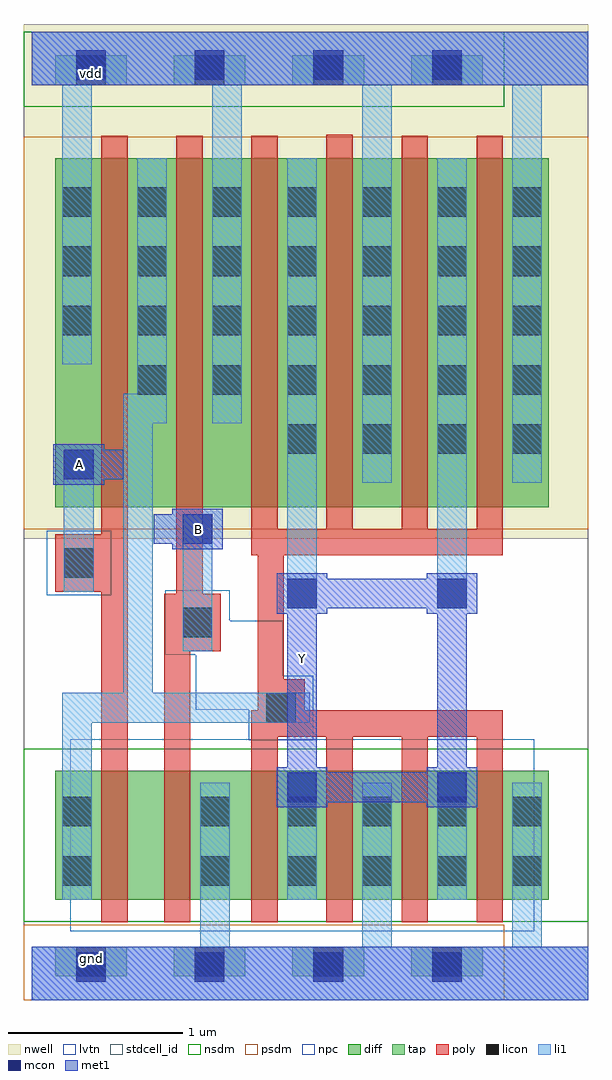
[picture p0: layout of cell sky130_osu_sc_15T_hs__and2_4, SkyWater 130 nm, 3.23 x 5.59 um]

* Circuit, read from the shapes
.subckt sky130_osu_sc_15T_hs__and2_4 A B Y gnd vdd
XM1 n1 A n2 gnd sky130_fd_pr__nfet_01v8_lvt w=0.74 l=0.15
XM2 gnd B n1 gnd sky130_fd_pr__nfet_01v8_lvt w=0.74 l=0.15
XM3 Y n2 gnd gnd sky130_fd_pr__nfet_01v8_lvt w=0.74 l=0.15 m=4
XM4 n2 A vdd vdd sky130_fd_pr__pfet_01v8 w=2 l=0.15
XM5 vdd B n2 vdd sky130_fd_pr__pfet_01v8 w=2 l=0.15
XM6 Y n2 vdd vdd sky130_fd_pr__pfet_01v8 w=2 l=0.15 m=4
.ends

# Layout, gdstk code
import gdstk
lib = gdstk.Library(unit=1e-6, precision=1e-09)
def R(c, l, rs):  # rectangles x0, y0, x1, y1
    for r in rs: c.add(gdstk.rectangle(r[:2], r[2:], *l))
def A(c, l, x, y, w, h, nx, ny, dx, dy):  # array of equal rectangles
    R(c, l, [(x+i*dx, y+j*dy, x+i*dx+w, y+j*dy+h) for i in range(nx) for j in range(ny)])
nwell = (64, 20)
diff = (65, 20)
tap = (65, 44)
poly = (66, 20)
licon = (66, 44)
li1 = (67, 20)
mcon = (67, 44)
met1 = (68, 20)
stdcell_id = (81, 4)
nsdm = (93, 44)
psdm = (94, 20)
npc = (95, 20)
lvtn = (125, 44)

sky130_osu_sc_15t_hs__an = lib.new_cell('sky130_osu_sc_15T_hs__and2_4')
R(sky130_osu_sc_15t_hs__an, nwell, [(-0.045,2.645,3.19,5.595)])
R(sky130_osu_sc_15t_hs__an, diff, [(0.135,0.575,2.965,1.315), (0.135,2.825,2.965,4.825)])
A(sky130_osu_sc_15t_hs__an, tap, 0.135, 0.135, 0.41, 0.17, 4, 2, 0.68, 5.11)
A(sky130_osu_sc_15t_hs__an, poly, 1.26, 0.445, 0.15, 1.065, 4, 1, 0.43, 0)
R(sky130_osu_sc_15t_hs__an, poly, [(0.4,0.445,0.55,2.34), (0.76,0.445,0.91,2), (1.26,1.51,2.7,1.66), (1.295,1.66,1.565,1.84), (1.295,1.84,1.445,2.55), (0.76,2,1.085,2.33), (0.83,2.33,0.98,4.955), (0.135,2.34,0.55,2.67), (1.26,2.55,2.7,2.7), (0.4,2.67,0.55,4.955), (1.26,2.7,1.41,4.955), (1.69,2.7,1.84,4.96), (2.12,2.7,2.27,4.955), (2.55,2.7,2.7,4.955)])
A(sky130_osu_sc_15t_hs__an, licon, 0.255, 0.135, 0.17, 0.17, 4, 2, 0.68, 5.11)
A(sky130_osu_sc_15t_hs__an, licon, 1.465, 0.655, 0.17, 0.17, 4, 2, 0.43, 0.34)
A(sky130_osu_sc_15t_hs__an, licon, 1.465, 3.13, 0.17, 0.17, 4, 1, 0.43, 0)
A(sky130_osu_sc_15t_hs__an, licon, 0.605, 3.47, 0.17, 0.17, 6, 1, 0.43, 0)
A(sky130_osu_sc_15t_hs__an, licon, 0.175, 3.81, 0.17, 0.17, 7, 3, 0.43, 0.34)
R(sky130_osu_sc_15t_hs__an, licon, [(0.175,0.655,0.345,0.825), (0.965,0.655,1.135,0.825), (0.175,0.995,0.345,1.165), (0.965,0.995,1.135,1.165), (1.345,1.59,1.515,1.76), (0.865,2.08,1.035,2.25), (0.185,2.42,0.355,2.59)])
R(sky130_osu_sc_15t_hs__an, li1, [(0,0,3.19,0.305), (0.965,0.305,1.135,1.245), (1.895,0.305,2.065,1.245), (2.755,0.305,2.925,1.245), (0.175,0.575,0.345,1.59), (1.465,0.575,1.635,1.305), (2.325,0.575,2.495,1.305), (0.175,1.59,1.595,1.76), (0.525,1.76,0.695,3.305), (0.865,2,1.035,2.785), (1.465,2.245,1.635,4.825), (2.325,2.245,2.495,4.825), (0.185,2.34,0.355,3.155), (1.895,2.965,2.065,5.245), (2.755,2.965,2.925,5.245), (0.525,3.305,0.775,3.475), (1.035,3.305,1.205,5.245), (0.605,3.475,0.775,4.825), (0.175,3.645,0.345,5.245), (0,5.245,3.19,5.55)])
A(sky130_osu_sc_15t_hs__an, mcon, 0.255, 0.105, 0.17, 0.17, 4, 2, 0.68, 5.17)
R(sky130_osu_sc_15t_hs__an, mcon, [(1.465,1.135,1.635,1.305), (2.325,1.135,2.495,1.305), (1.465,2.245,1.635,2.415), (2.325,2.245,2.495,2.415), (0.865,2.615,1.035,2.785), (0.185,2.985,0.355,3.155)])
R(sky130_osu_sc_15t_hs__an, met1, [(0,0,3.19,0.305), (1.405,1.105,1.695,1.135), (2.265,1.105,2.555,1.135), (1.405,1.135,2.555,1.305), (1.405,1.305,1.695,1.335), (2.265,1.305,2.555,1.335), (1.465,1.335,1.635,2.215), (2.325,1.335,2.495,2.215), (1.405,2.215,1.695,2.245), (2.265,2.215,2.555,2.245), (1.405,2.245,2.555,2.415), (1.405,2.415,1.695,2.445), (2.265,2.415,2.555,2.445), (0.805,2.585,1.095,2.615), (0.7,2.615,1.095,2.785), (0.805,2.785,1.095,2.815), (0.125,2.955,0.415,2.985), (0.125,2.985,0.525,3.155), (0.125,3.155,0.415,3.185), (0,5.245,3.19,5.55)])
R(sky130_osu_sc_15t_hs__an, stdcell_id, [(-0.045,0,3.19,5.55)])
R(sky130_osu_sc_15t_hs__an, nsdm, [(-0.045,0.45,3.19,1.44), (-0.045,5.12,2.71,5.55)])
R(sky130_osu_sc_15t_hs__an, psdm, [(-0.045,0,2.71,0.43), (-0.045,2.7,3.19,4.95)])
R(sky130_osu_sc_15t_hs__an, npc, [(1.245,1.49,1.615,1.665), (0.94,1.665,1.615,1.86), (0.94,1.86,1.44,1.98), (0.765,1.98,1.44,2.175), (0.765,2.175,1.135,2.35), (0.085,2.32,0.455,2.69)])
R(sky130_osu_sc_15t_hs__an, lvtn, [(0.22,0.395,2.88,1.495)])
sky130_osu_sc_15t_hs__an.add(gdstk.Label('gnd', (0.34,0.24), layer=68, texttype=16))
sky130_osu_sc_15t_hs__an.add(gdstk.Label('vdd', (0.34,5.31), layer=68, texttype=16))
sky130_osu_sc_15t_hs__an.add(gdstk.Label('Y', (1.555,1.96), layer=68, texttype=5))
sky130_osu_sc_15t_hs__an.add(gdstk.Label('A', (0.275,3.07), layer=68, texttype=5))
sky130_osu_sc_15t_hs__an.add(gdstk.Label('B', (0.955,2.7), layer=68, texttype=5))

lib.write_gds('sky130_osu_sc_15T_hs__and2_4.gds')
